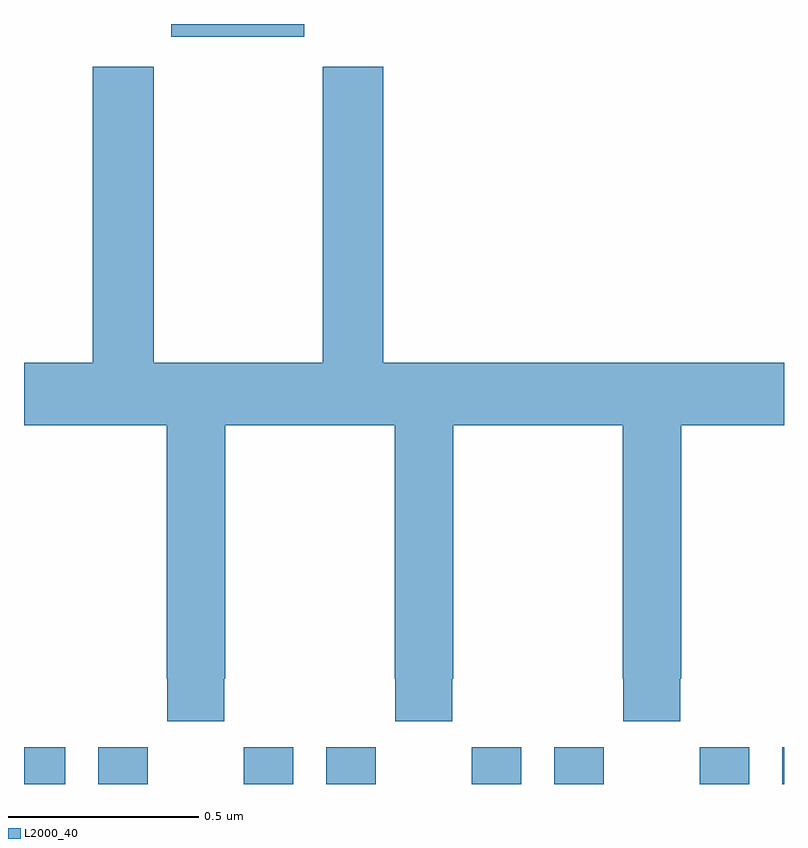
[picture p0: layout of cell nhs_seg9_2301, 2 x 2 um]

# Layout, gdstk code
import gdstk
lib = gdstk.Library(unit=1e-6, precision=1e-09)
def R(c, l, rs):  # rectangles x0, y0, x1, y1
    for r in rs: c.add(gdstk.rectangle(r[:2], r[2:], *l))
def P(c, l, *ps):  # polygons
    for p in ps: c.add(gdstk.Polygon(p, *l))
L2000_40 = (2000, 40)

nhs_seg9_2301 = lib.new_cell('nhs_seg9_2301')
R(nhs_seg9_2301, L2000_40, [(139,1171.5,139.108,1171.597), (139.196,1171.5,139.326,1171.597), (139.578,1171.5,139.708,1171.597), (139.796,1171.5,139.926,1171.597), (140.178,1171.5,140.308,1171.597), (140.396,1171.5,140.526,1171.597), (140.778,1171.5,140.908,1171.597), (140.996,1171.5,141,1171.597), (139.388,1173.467,139.738,1173.5)])
P(nhs_seg9_2301, L2000_40, [(139.341,1173.388),(139.181,1173.388),(139.181,1172.608),(139,1172.608),(139,1172.444),(139.375,1172.444),(139.375,1171.777),(139.377,1171.777),(139.377,1171.665),(139.527,1171.665),(139.527,1171.777),(139.53,1171.777),(139.53,1172.444),(139.975,1172.444),(139.975,1171.777),(139.977,1171.777),(139.977,1171.665),(140.127,1171.665),(140.127,1171.777),(140.13,1171.777),(140.13,1172.444),(140.575,1172.444),(140.575,1171.777),(140.577,1171.777),(140.577,1171.665),(140.727,1171.665),(140.727,1171.777),(140.73,1171.777),(140.73,1172.444),(141,1172.444),(141,1172.608),(139.946,1172.608),(139.946,1173.388),(139.786,1173.388),(139.786,1172.608),(139.341,1172.608)])

lib.write_gds('nhs_seg9_2301.gds')
